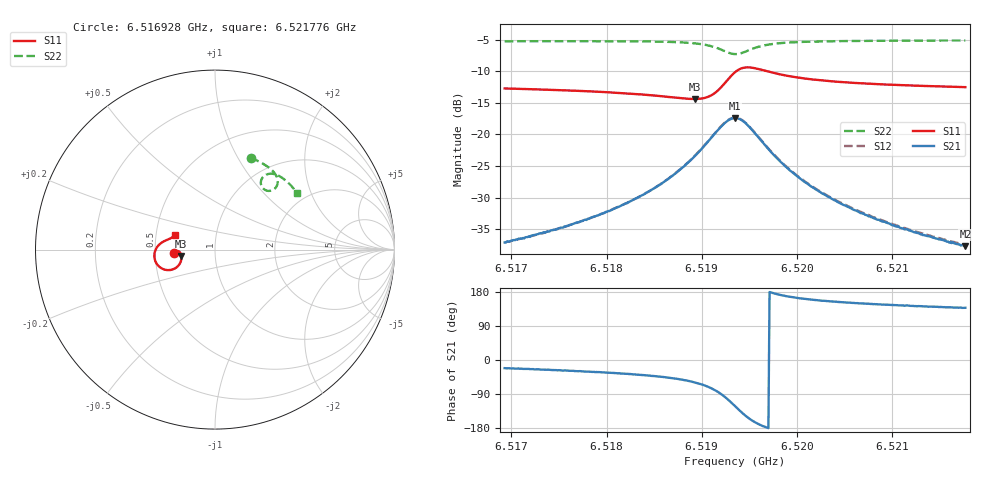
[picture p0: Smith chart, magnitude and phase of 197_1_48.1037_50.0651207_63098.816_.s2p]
#  HZ  S  RI  R  50.00
! Rohde & Schwarz Vector Network Analyzer
! Rohde-Schwarz,ZNB20-2Port,1311601062101988,3.16
! Created: UTC 12/23/2023, 3:54:22 AM
! freq[Hz]  re:S11  im:S11  re:S21  im:S21  re:S12  im:S12  re:S22  im:S22
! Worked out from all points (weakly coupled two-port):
!   401 points, 6.516928 GHz to 6.521776 GHz, reference 50 ohm
!   highest |S21| = -17.40 dB at 6.519352 GHz (marker M1); lowest = -37.7 dB at 6.521776 GHz (marker M2)
!   lowest |S11| = -14.4 dB at 6.518927 GHz (marker M3), VSWR 1.47, Z = 34.1 - j2.48 ohm
!   |S11| at or under -10 dB: start of sweep to 6.519363 GHz; 6.519694 GHz to end of sweep
!   |S22| runs from -7.3 to -5.1 dB; largest |S21 - S12| = 0.0042
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6.5169275e9  -0.2308 -0.0184  0.0129 -0.0051  0.013 -0.00472  0.1982 0.5109
6.517376e9  -0.226 -0.0117  0.0153 -0.00742  0.0155 -0.0069  0.2312 0.4975
6.5177396e9  -0.2208 -0.00741  0.0178 -0.0103  0.0181 -0.00967  0.2582 0.4841
6.5181881e9  -0.2121 -0.0051  0.0227 -0.0165  0.0232 -0.0158  0.2918 0.4632
6.5185517e9  -0.2016 -0.00934  0.0287 -0.0273  0.0295 -0.0265  0.3199 0.44
6.5187456e9  -0.1943 -0.0177  0.0326 -0.0386  0.0339 -0.0378  0.3349 0.4222
6.5189274e9  -0.1878 -0.035  0.0346 -0.0576  0.0365 -0.057  0.3468 0.3977
6.5190365e9  -0.1875 -0.0541  0.0315 -0.0761  0.0341 -0.0757  0.3494 0.3769
6.5191213e9  -0.1943 -0.0751  0.0222 -0.0954  0.0253 -0.0953  0.345 0.3566
6.5192546e9  -0.2359 -0.1105  -0.0204 -0.1234  -0.017 -0.1251  0.3132 0.3285
6.5193516e9  -0.2924 -0.1071  -0.071 -0.1147  -0.0681 -0.1177  0.2744 0.3354
6.5194001e9  -0.317 -0.089  -0.091 -0.0962  -0.0888 -0.0996  0.2606 0.3509
6.5194607e9  -0.3344 -0.0582  -0.1031 -0.0677  -0.1018 -0.0711  0.2552 0.3743
6.5195698e9  -0.3338 -0.00884  -0.097 -0.0254  -0.0972 -0.0284  0.2696 0.4067
6.5196788e9  -0.3179 0.0202  -0.0802 -0.00332  -0.0809 -0.00569  0.2923 0.4202
6.5199091e9  -0.2875 0.0448  -0.0523 0.0115  -0.0532 0.0101  0.3308 0.4204
6.5201637e9  -0.2676 0.0542  -0.0358 0.0136  -0.0366 0.0127  0.3597 0.4088
6.5204667e9  -0.2532 0.0603  -0.0251 0.013  -0.0259 0.0124  0.385 0.3919
6.5206969e9  -0.2457 0.0638  -0.0202 0.0121  -0.0209 0.0117  0.4011 0.3784
6.5209757e9  -0.2386 0.0679  -0.0162 0.0111  -0.0167 0.0108  0.4184 0.362
6.5213272e9  -0.2313 0.0727  -0.0125 0.00988  -0.0132 0.00977  0.4378 0.3409
6.5217756e9  -0.2236 0.0788  -0.00962 0.00875  -0.01 0.00863  0.4596 0.313
